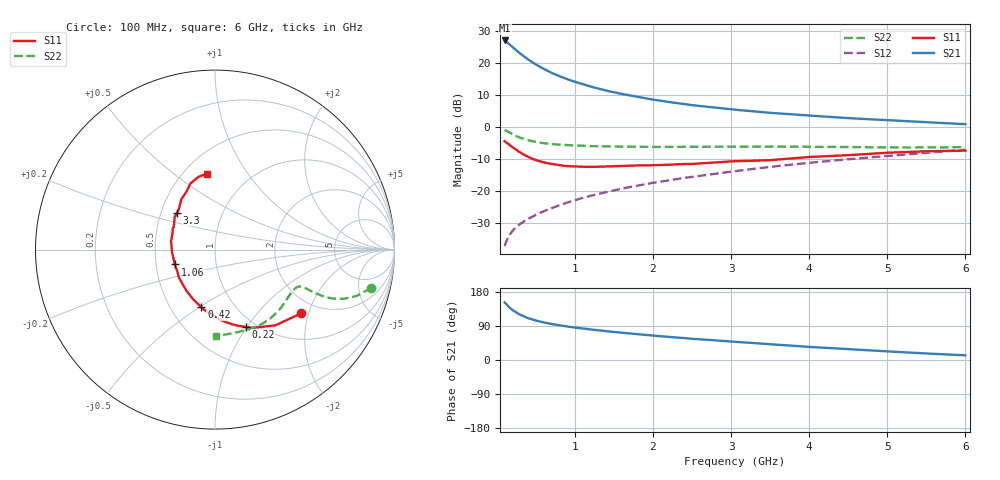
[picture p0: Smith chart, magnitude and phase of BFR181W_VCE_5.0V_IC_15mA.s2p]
! Infineon Technologies  Discrete & RF Semiconductors
! BFR181W
! VCE =  5.0 V,  IC =  15 mA
! Common Emitter S-Parameters:  Nov 2015
# GHz  S  MA  R  50
!  f  S11  S21  S12  S22
! GHz  MAG  ANG  MAG  ANG  MAG  ANG  MAG  ANG
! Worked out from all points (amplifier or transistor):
!   192 points, 100 MHz to 6 GHz, reference 50 ohm
!   highest |S21| = 27.1 dB at 100 MHz (marker M1)
!   |S21| within 3 dB of that: start of sweep to 245.6 MHz
!   unconditionally stable (mu >= 1): 840.7 MHz to 2.846 GHz
!   at 440 MHz: K = 0.80, MSG = 24.4 dB, |S12| = -28.3 dB
!   at 1.7 GHz: K = 1.07, MAG = 12.8 dB, |S12| = -18.9 dB
!   at 6 GHz: K = 0.79, MSG = 4.0 dB, |S12| = -7.2 dB
!   S11 on the Smith chart (normalised r, x): 100 MHz: 1.63, -1.80; 220 MHz: 0.90, -0.99; 420 MHz: 0.71, -0.51; 1.06 GHz: 0.63, -0.11; 3.3 GHz: 0.61, +0.27; 6 GHz: 0.64, +0.66
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0.1  0.5979 -36.4  22.65 152.0  0.0135 74.3  0.8962 -13.8
0.15  0.5396 -51.5  20.26 140.8  0.0192 69.8  0.8304 -18.1
0.2  0.4843 -64.3  17.92 131.9  0.0233 67.6  0.7692 -20.9
0.22  0.4632 -68.3  17.06 129.3  0.0249 66.8  0.7479 -21.5
0.26  0.4276 -76.9  15.49 123.9  0.0279 65.7  0.708 -22.6
0.3  0.3969 -84.6  14.09 119.2  0.0302 65.2  0.6758 -23.2
0.4  0.3391 -100.8  11.41 110.3  0.0361 65.2  0.6165 -23.5
0.42  0.3304 -103.2  11.02 109.2  0.0372 65.4  0.6091 -23.5
0.5  0.3021 -113.8  9.509 104.1  0.0418 66.0  0.5793 -23.3
0.6  0.2786 -125.1  8.12 99.1  0.0477 67.0  0.5547 -23.1
0.7  0.2628 -134.0  7.051 94.9  0.053 68.2  0.5386 -23.0
0.9  0.2423 -150.1  5.593 88.4  0.0649 69.9  0.5179 -23.3
1.06  0.2383 -159.7  4.845 84.2  0.0747 70.9  0.5083 -24.0
1.1  0.2372 -162.0  4.683 83.2  0.077 71.0  0.5061 -24.2
1.2  0.2362 -167.8  4.286 80.5  0.083 71.2  0.5006 -24.8
1.5  0.2411 -179.9  3.481 73.9  0.1011 71.9  0.4917 -27.1
2.08  0.2521 160.8  2.588 63.1  0.1377 71.9  0.4864 -32.5
3.1  0.2903 139.3  1.836 47.3  0.206 69.6  0.4908 -44.9
3.3  0.2951 135.6  1.747 44.6  0.221 68.8  0.4909 -47.8
4.1  0.3414 122.2  1.479 33.4  0.2809 65.1  0.4881 -59.5
5.1  0.3972 108.8  1.259 21.6  0.3584 59.6  0.4765 -75.3
6  0.4251 96.2  1.103 12.3  0.4385 54.0  0.4831 -89.2
